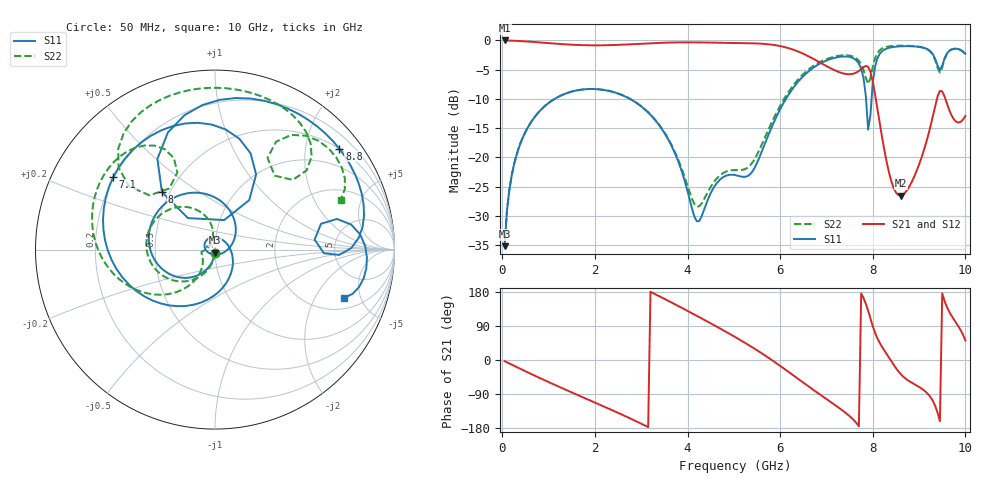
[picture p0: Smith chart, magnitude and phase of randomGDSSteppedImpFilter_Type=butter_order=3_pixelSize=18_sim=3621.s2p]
! freq	dB(S11)	phase(S11)	dB(S12)	phase(S12)
!  dB(S21)	phase(S21)	dB(S22)	phase(S22)
!S-par simulation data
#  GHz  S  DB  R 50
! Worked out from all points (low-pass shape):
!   200 points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, 50 MHz to 10 GHz, reference 50 ohm
!   highest |S21| = -0.01 dB at 50 MHz (marker M1); lowest = -26.6 dB at 8.6 GHz (marker M2)
!   |S21| within 3 dB of the highest: start of sweep to 6.683 GHz
!   lowest |S11| = -35.2 dB at 50 MHz (marker M3), VSWR 1.04, Z = 49.9 - j1.73 ohm
!   |S11| at or under -10 dB: start of sweep to 1.131 GHz; 2.755 GHz to 6.125 GHz (3.37 GHz wide, 75.9 % of centre); 7.854 GHz to 7.975 GHz (120.2 MHz wide, 1.52 % of centre)
!   |S22| runs from -35.2 to -0.9 dB; largest |S21 - S12| = 0
!   S11 on the Smith chart (normalised r, x): 50 MHz: 1.00, -0.03; 7.1 GHz: 0.20, +0.31; 8 GHz: 0.45, +0.36; 8.8 GHz: 0.50, +2.74; 10 GHz: 2.73, -3.57
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0.05  -35.20 -93.1  -0.01 -3.0  -0.01 -3.0  -35.20 -92.6
0.2  -23.24 -103.0  -0.04 -12.0  -0.04 -12.0  -23.22 -101.3
0.5  -15.65 -122.2  -0.16 -29.7  -0.16 -29.7  -15.63 -118.1
1.75  -8.38 162.6  -0.81 -98.8  -0.81 -98.8  -8.37 178.8
2.7  -9.77 104.0  -0.69 -150.7  -0.69 -150.7  -9.74 134.6
3.4  -14.64 52.8  -0.42 167.7  -0.42 167.7  -14.56 104.7
4.2  -30.95 -83.6  -0.34 116.6  -0.34 116.6  -28.45 140.2
5.05  -23.08 102.1  -0.44 59.2  -0.44 59.2  -22.18 -164.9
5.85  -14.24 -70.5  -0.76 -2.6  -0.76 -2.6  -13.48 -123.8
6.7  -4.75 -174.2  -3.08 -77.3  -3.08 -77.3  -4.45 -169.6
7.1  -3.15 144.6  -4.80 -111.6  -4.80 -111.6  -2.92 163.3
7.55  -2.94 97.6  -5.75 -153.8  -5.75 -153.8  -2.69 131.9
7.8  -6.43 61.3  -4.57 163.6  -4.57 163.6  -5.05 114.2
7.9  -15.27 72.7  -4.52 130.0  -4.52 130.0  -7.43 126.7
8  -7.20 132.7  -7.04 89.1  -7.04 89.1  -4.52 143.6
8.35  -1.26 76.7  -22.58 6.3  -22.58 6.3  -1.02 109.9
8.6  -1.01 54.3  -26.56 -36.8  -26.56 -36.8  -0.90 92.5
8.8  -0.99 39.1  -24.85 -56.8  -24.85 -56.8  -0.93 79.8
9.25  -1.89 4.7  -14.55 -98.6  -14.55 -98.6  -1.98 48.0
9.45  -5.07 5.7  -8.63 -161.4  -8.63 -161.4  -5.52 51.1
9.65  -1.79 5.8  -11.88 127.4  -11.88 127.4  -1.81 51.4
10  -2.29 -20.4  -12.92 51.8  -12.92 51.8  -2.45 21.7
